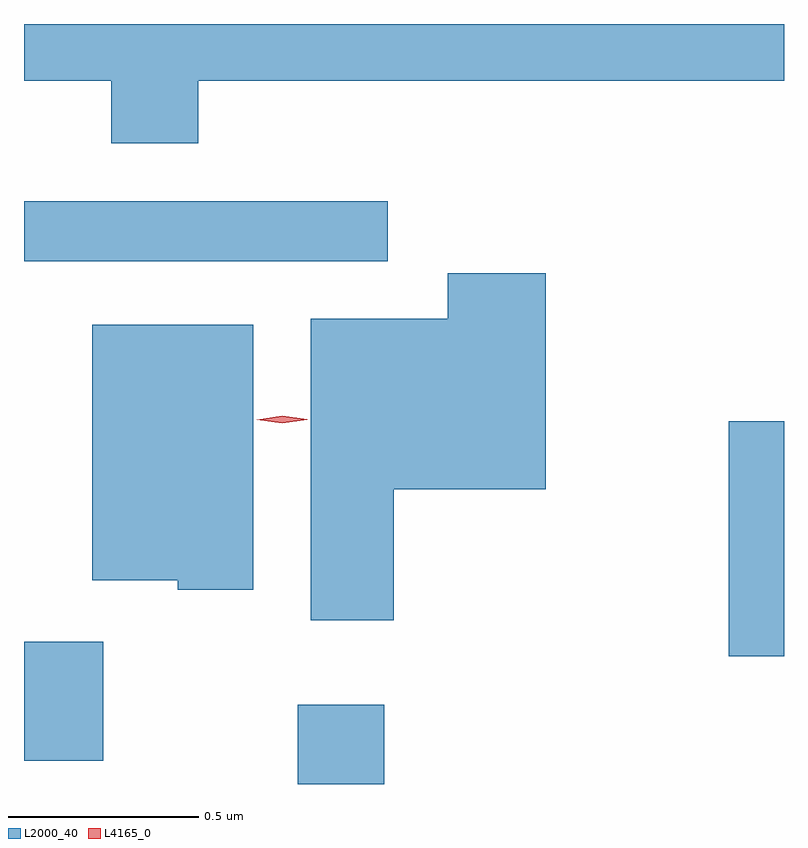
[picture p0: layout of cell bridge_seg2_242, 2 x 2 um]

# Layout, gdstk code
import gdstk
lib = gdstk.Library(unit=1e-6, precision=1e-09)
def R(c, l, rs):  # rectangles x0, y0, x1, y1
    for r in rs: c.add(gdstk.rectangle(r[:2], r[2:], *l))
def P(c, l, *ps):  # polygons
    for p in ps: c.add(gdstk.Polygon(p, *l))
L2000_40 = (2000, 40)
L4165_0 = (4165, 0)

bridge_seg2_242 = lib.new_cell('bridge_seg2_242')
R(bridge_seg2_242, L2000_40, [(611.141,1097.525,611.369,1097.734), (610.421,1097.586,610.629,1097.899), (612.276,1097.861,612.421,1098.479), (610.421,1098.901,611.378,1099.059)])
P(bridge_seg2_242, L2000_40, [(610.879,1099.376),(612.421,1099.376),(612.421,1099.525),(610.421,1099.525),(610.421,1099.376),(610.651,1099.376),(610.651,1099.211),(610.879,1099.211)],
  [(611.394,1098.301),(611.794,1098.301),(611.794,1098.869),(611.536,1098.869),(611.536,1098.749),(611.176,1098.749),(611.176,1097.956),(611.394,1097.956)],
  [(611.024,1098.734),(610.601,1098.734),(610.601,1098.061),(610.826,1098.061),(610.826,1098.036),(611.024,1098.036)])
P(bridge_seg2_242, L4165_0, [(611.1,1098.474),(611.034,1098.484),(611.034,1098.484),(611.034,1098.484),(611.1,1098.494),(611.166,1098.485),(611.167,1098.484),(611.166,1098.484)])

lib.write_gds('bridge_seg2_242.gds')
